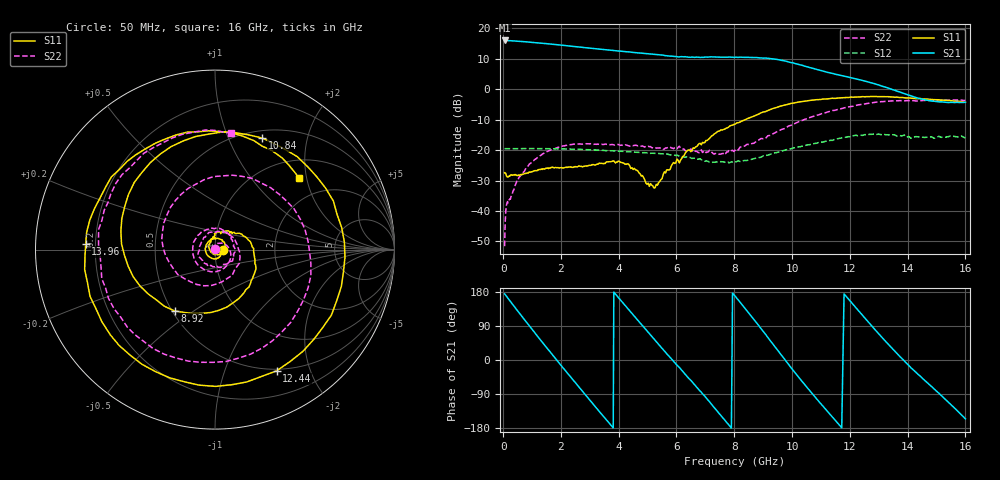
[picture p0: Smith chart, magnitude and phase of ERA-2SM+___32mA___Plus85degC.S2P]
! Mini-Circuits
! S2P DATA File Format
! Type: MMIC Amplifier
! Model: ERA-2SM  Reference Data:RDF-874AA
! Note: All S Parameters are in dB deg format
! TEST CONDITIONS: INPUT POWER = -20dBm, Icc = 32mA, Vd = 3.22V @Temperature = +85degC
! 401 Frequency points
# MHz S DB R 50
!  FREQ  dB(S11)  PHS(S11)  dB(S21)  PHS(S21)  dB(S12)  PHS(S12)  dB(S22)  PHS(S22)
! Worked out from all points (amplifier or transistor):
!   401 points, 50 MHz to 16 GHz, reference 50 ohm
!   highest |S21| = 16.0 dB at 50 MHz (marker M1)
!   |S21| within 3 dB of that: start of sweep to 3.491 GHz
!   unconditionally stable (mu >= 1): start of sweep to 10.2 GHz; 14.6 GHz to end of sweep
!   at 1.37 GHz: K = 1.12, MAG = 15.2 dB, |S12| = -19.5 dB
!   at 4.1 GHz: K = 1.42, MAG = 12.6 dB, |S12| = -20.4 dB
!   at 16 GHz: K = 1.46, MAG = 1.8 dB, |S12| = -16.0 dB
!   S11 on the Smith chart (normalised r, x): 50 MHz: 1.09, -0.00; 8.92 GHz: 0.51, -0.42; 10.84 GHz: 0.58, +1.33; 12.44 GHz: 0.48, -1.52; 13.96 GHz: 0.16, +0.02; 16 GHz: 1.41, +1.81
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50  -27.40 -1.1  16.04 174.5  -19.49 -3.8  -51.54 128.0
830  -27.51 -35.2  15.56 97.3  -19.47 -57.7  -25.56 42.7
1630  -25.84 -87.5  14.86 20.7  -19.53 -114.0  -19.98 -30.7
2090  -25.85 -128.5  14.42 -22.4  -19.59 -146.4  -18.59 -70.9
2710  -25.30 166.9  13.81 -79.6  -19.74 169.8  -18.01 -124.8
3350  -24.32 99.3  13.19 -137.9  -19.98 124.2  -18.14 178.5
3850  -23.75 50.0  12.72 177.2  -20.24 89.1  -18.27 134.3
4620  -26.57 -18.8  12.00 108.6  -20.72 34.1  -18.42 73.2
5380  -30.68 -175.7  11.33 41.2  -21.10 -19.6  -19.29 21.3
6060  -23.36 91.2  10.64 -16.9  -21.77 -70.4  -19.02 -26.0
6820  -17.75 49.7  10.45 -82.3  -22.82 -121.3  -20.74 -105.4
7500  -13.65 4.6  10.55 -143.1  -23.78 -159.8  -21.30 152.8
8060  -11.27 -43.7  10.55 165.7  -23.85 168.5  -19.71 80.7
8920  -7.76 -123.4  10.34 83.2  -22.33 118.1  -16.18 -29.0
9720  -5.23 161.5  9.35 3.8  -20.07 61.1  -12.95 -127.2
10760  -3.53 73.7  6.76 -94.4  -17.83 -19.9  -8.83 121.2
10840  -3.42 67.2  6.56 -101.4  -17.73 -26.2  -8.58 113.4
11560  -2.90 9.9  4.84 -164.7  -16.27 -84.9  -6.68 48.1
12440  -2.41 -63.1  2.91 117.8  -15.16 -160.6  -4.93 -29.6
13400  -2.47 -140.8  0.17 36.0  -15.04 115.9  -3.85 -109.7
13960  -2.84 177.5  -1.65 -8.5  -15.74 69.3  -3.72 -149.6
16000  -4.22 40.3  -4.25 -155.3  -15.97 -80.4  -3.66 82.0
